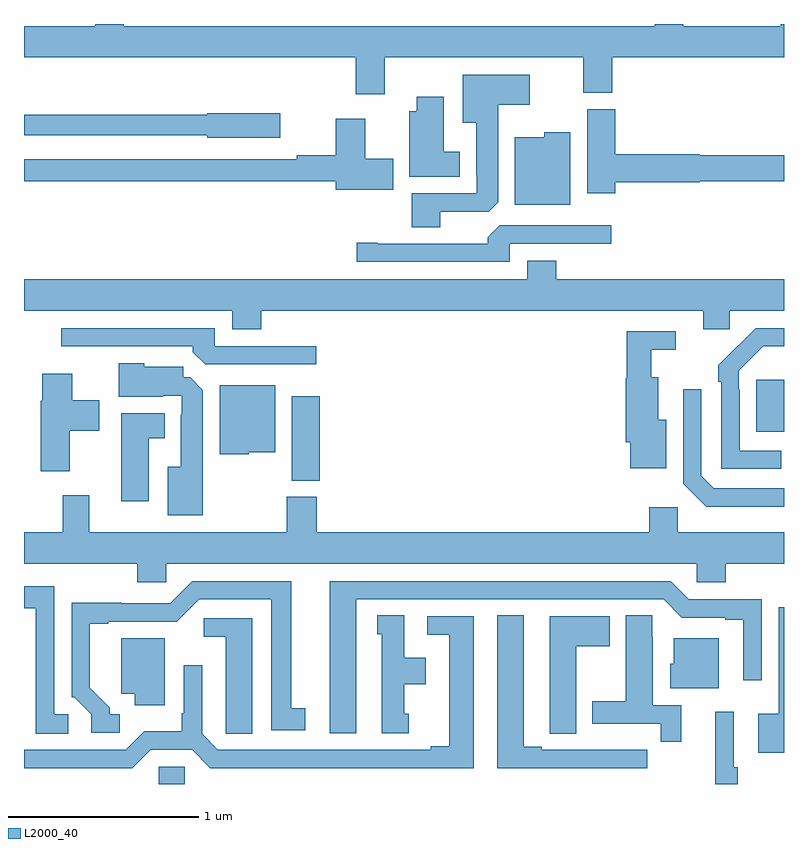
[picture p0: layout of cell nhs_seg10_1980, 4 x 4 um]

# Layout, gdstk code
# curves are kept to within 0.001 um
import gdstk
lib = gdstk.Library(unit=1e-6, precision=1e-09)
def R(c, l, rs):  # rectangles x0, y0, x1, y1
    for r in rs: c.add(gdstk.rectangle(r[:2], r[2:], *l))
def P(c, l, *ps):  # polygons
    for p in ps: c.add(gdstk.Polygon(p, *l))
L2000_40 = (2000, 40)

nhs_seg10_1980 = lib.new_cell('nhs_seg10_1980')
R(nhs_seg10_1980, L2000_40, [(215.709,1288.5,215.847,1288.59), (216.41,1290.097,216.557,1290.541), (218.855,1290.353,219,1290.628)])
P(nhs_seg10_1980, L2000_40, [(216.898,1292.324),(217.943,1292.324),(217.943,1292.137),(218.096,1292.137),(218.096,1292.324),(219,1292.324),(219,1292.5),(218.984,1292.5),(218.984,1292.488),(218.471,1292.488),(218.471,1292.5),(218.319,1292.5),(218.319,1292.488),(215.526,1292.488),(215.526,1292.5),(215.375,1292.5),(215.375,1292.488),(215,1292.488),(215,1292.324),(216.746,1292.324),(216.746,1292.13),(216.898,1292.13)],
  [(217.192,1291.512),(217.446,1291.512),(217.495,1291.561),(217.495,1292.075),(217.663,1292.075),(217.663,1292.233),(217.31,1292.233),(217.31,1291.979),(217.379,1291.979),(217.379,1291.705),(217.383,1291.705),(217.383,1291.608),(217.04,1291.608),(217.04,1291.429),(217.192,1291.429)],
  [(217.294,1291.828),(217.21,1291.828),(217.21,1292.116),(217.067,1292.116),(217.067,1292.041),(217.028,1292.041),(217.028,1291.697),(217.294,1291.697)],
  [(218.111,1291.667),(218.556,1291.667),(218.556,1291.672),(219,1291.672),(219,1291.808),(218.556,1291.808),(218.556,1291.814),(218.111,1291.814),(218.111,1292.052),(217.964,1292.052),(217.964,1291.608),(218.111,1291.608)],
  [(216.349,1292.031),(215.964,1292.031),(215.964,1292.023),(215,1292.023),(215,1291.914),(215.964,1291.914),(215.964,1291.901),(216.349,1291.901)],
  [(216.943,1291.791),(216.796,1291.791),(216.796,1292.002),(216.641,1292.002),(216.641,1291.808),(216.436,1291.808),(216.436,1291.788),(215,1291.788),(215,1291.672),(216.641,1291.672),(216.641,1291.628),(216.943,1291.628)],
  [(217.876,1291.93),(217.737,1291.93),(217.737,1291.903),(217.583,1291.903),(217.583,1291.55),(217.876,1291.55)],
  [(217.557,1291.344),(218.092,1291.344),(218.092,1291.44),(217.503,1291.44),(217.442,1291.378),(217.442,1291.344),(216.862,1291.344),(216.862,1291.349),(216.75,1291.349),(216.75,1291.248),(217.557,1291.248)],
  [(216.248,1290.992),(218.576,1290.992),(218.576,1290.894),(218.715,1290.894),(218.715,1290.992),(219,1290.992),(219,1291.156),(217.802,1291.156),(217.802,1291.255),(217.649,1291.255),(217.649,1291.156),(215,1291.156),(215,1290.992),(216.095,1290.992),(216.095,1290.893),(216.248,1290.893)],
  [(216.538,1290.804),(216.003,1290.804),(216.003,1290.9),(215.196,1290.9),(215.196,1290.804),(215.888,1290.804),(215.888,1290.773),(215.953,1290.708),(216.538,1290.708)],
  [(218.986,1290.255),(218.766,1290.255),(218.766,1290.575),(218.763,1290.575),(218.763,1290.675),(218.892,1290.804),(219,1290.804),(219,1290.9),(218.852,1290.9),(218.655,1290.705),(218.655,1290.617),(218.67,1290.617),(218.67,1290.159),(218.986,1290.159)],
  [(218.38,1290.418),(218.338,1290.418),(218.338,1290.64),(218.302,1290.64),(218.302,1290.785),(218.431,1290.785),(218.431,1290.882),(218.173,1290.882),(218.173,1290.636),(218.168,1290.636),(218.168,1290.3),(218.192,1290.3),(218.192,1290.161),(218.38,1290.161)],
  [(215.941,1290.573),(215.875,1290.64),(215.837,1290.64),(215.837,1290.697),(215.634,1290.697),(215.634,1290.715),(215.498,1290.715),(215.498,1290.539),(215.729,1290.539),(215.729,1290.543),(215.829,1290.543),(215.829,1290.443),(215.825,1290.443),(215.825,1290.169),(215.756,1290.169),(215.756,1289.915),(215.941,1289.915)],
  [(215.242,1290.358),(215.395,1290.358),(215.395,1290.52),(215.254,1290.52),(215.254,1290.658),(215.096,1290.658),(215.096,1290.516),(215.087,1290.516),(215.087,1290.147),(215.242,1290.147)],
  [(216.183,1290.245),(216.322,1290.245),(216.322,1290.598),(216.029,1290.598),(216.029,1290.236),(216.183,1290.236)],
  [(219,1290.057),(218.631,1290.057),(218.565,1290.123),(218.565,1290.577),(218.469,1290.577),(218.469,1290.081),(218.59,1289.96),(219,1289.96)],
  [(215.656,1290.32),(215.74,1290.32),(215.74,1290.451),(215.513,1290.451),(215.513,1289.988),(215.656,1289.988)],
  [(215.748,1289.66),(218.541,1289.66),(218.541,1289.562),(218.693,1289.562),(218.693,1289.66),(219,1289.66),(219,1289.824),(218.442,1289.824),(218.442,1289.956),(218.291,1289.956),(218.291,1289.824),(216.542,1289.824),(216.542,1290.012),(216.382,1290.012),(216.382,1289.824),(215.344,1289.824),(215.344,1290.019),(215.204,1290.019),(215.204,1289.824),(215,1289.824),(215,1289.66),(215.597,1289.66),(215.597,1289.562),(215.748,1289.562)],
  [(215.503,1288.866),(215.452,1288.866),(215.452,1288.901),(215.347,1289.006),(215.347,1289.343),(215.443,1289.343),(215.443,1289.355),(215.805,1289.355),(215.922,1289.472),(216.302,1289.472),(216.302,1288.782),(216.481,1288.782),(216.481,1288.898),(216.406,1288.898),(216.406,1289.568),(215.886,1289.568),(215.769,1289.451),(215.513,1289.451),(215.513,1289.453),(215.25,1289.453),(215.25,1288.956),(215.265,1288.956),(215.355,1288.866),(215.355,1288.77),(215.503,1288.77)],
  [(216.748,1289.472),(218.367,1289.472),(218.463,1289.376),(218.69,1289.376),(218.69,1289.364),(218.786,1289.364),(218.786,1289.046),(218.883,1289.046),(218.883,1289.472),(218.499,1289.472),(218.403,1289.568),(216.608,1289.568),(216.608,1288.767),(216.748,1288.767)],
  [(215.233,1288.866),(215.16,1288.866),(215.16,1289.541),(215,1289.541),(215,1289.425),(215.063,1289.425),(215.063,1288.765),(215.233,1288.765)],
  [(219,1289.431),(218.973,1289.431),(218.973,1288.87),(218.864,1288.87),(218.864,1288.664),(219,1288.664)],
  [(218.281,1288.68),(218.168,1288.68),(218.168,1288.681),(218.002,1288.681),(218.002,1288.68),(217.726,1288.68),(217.726,1288.695),(217.63,1288.695),(217.63,1289.387),(217.49,1289.387),(217.49,1288.584),(218.281,1288.584)],
  [(218.459,1288.914),(218.308,1288.914),(218.308,1289.276),(218.307,1289.276),(218.307,1289.387),(218.168,1289.387),(218.168,1288.935),(217.991,1288.935),(217.991,1288.818),(218.35,1288.818),(218.35,1288.722),(218.459,1288.722)],
  [(217.024,1288.869),(217,1288.869),(217,1289.024),(217.114,1289.024),(217.114,1289.164),(217,1289.164),(217,1289.387),(216.86,1289.387),(216.86,1289.289),(216.884,1289.289),(216.884,1288.767),(217.024,1288.767)],
  [(217.906,1289.224),(218.083,1289.224),(218.083,1289.383),(217.766,1289.383),(217.766,1288.873),(217.767,1288.873),(217.767,1288.765),(217.906,1288.765)],
  [(215.667,1288.68),(215.885,1288.68),(215.981,1288.584),(217.366,1288.584),(217.366,1289.382),(217.122,1289.382),(217.122,1289.286),(217.238,1289.286),(217.238,1288.7),(217.142,1288.7),(217.142,1288.68),(216.021,1288.68),(215.937,1288.764),(215.937,1289.125),(215.841,1289.125),(215.841,1288.873),(215.829,1288.873),(215.829,1288.777),(215.632,1288.777),(215.535,1288.68),(215,1288.68),(215,1288.584),(215.571,1288.584)],
  [(216.202,1289.373),(215.946,1289.373),(215.946,1289.276),(216.062,1289.276),(216.062,1288.873),(216.063,1288.873),(216.063,1288.765),(216.202,1288.765)],
  [(215.74,1289.266),(215.513,1289.266),(215.513,1288.976),(215.582,1288.976),(215.582,1288.914),(215.74,1288.914)],
  [(218.656,1289.266),(218.42,1289.266),(218.42,1289.133),(218.402,1289.133),(218.402,1289.003),(218.656,1289.003)],
  [(218.756,1288.588),(218.736,1288.588),(218.736,1288.879),(218.639,1288.879),(218.639,1288.5),(218.756,1288.5)])

lib.write_gds('nhs_seg10_1980.gds')
